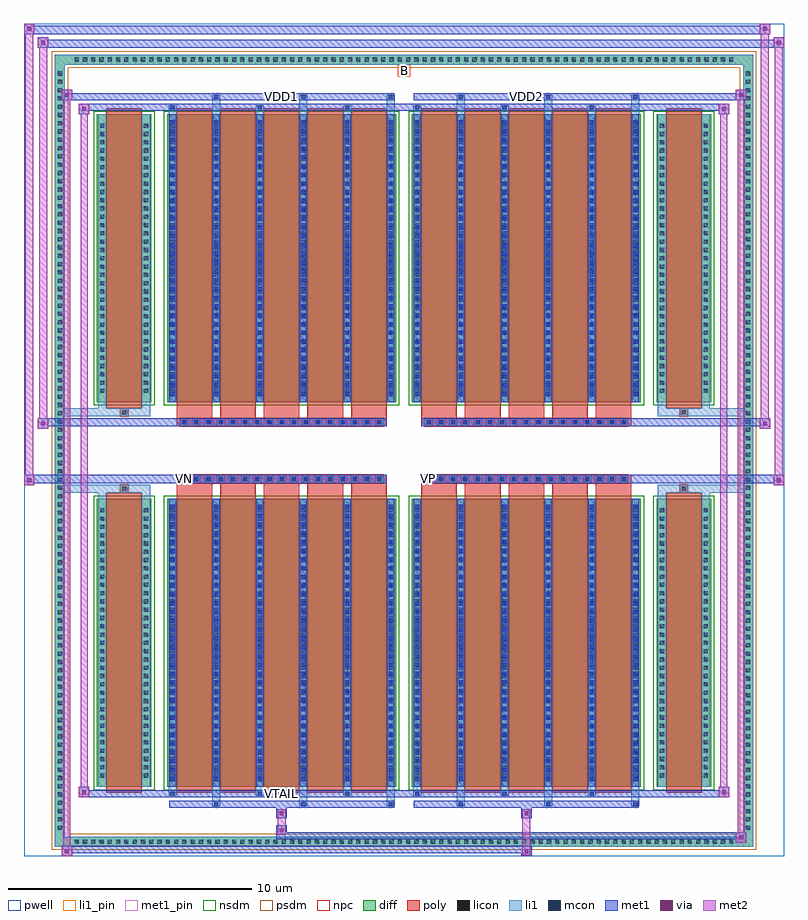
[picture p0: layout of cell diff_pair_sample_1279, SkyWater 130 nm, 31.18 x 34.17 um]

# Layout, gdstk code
import gdstk
lib = gdstk.Library(unit=1e-6, precision=5e-09)
def R(c, l, rs):  # rectangles x0, y0, x1, y1
    for r in rs: c.add(gdstk.rectangle(r[:2], r[2:], *l))
def A(c, l, x, y, w, h, nx, ny, dx, dy):  # array of equal rectangles
    R(c, l, [(x+i*dx, y+j*dy, x+i*dx+w, y+j*dy+h) for i in range(nx) for j in range(ny)])
def P(c, l, *ps):  # polygons
    for p in ps: c.add(gdstk.Polygon(p, *l))
pwell = (64, 44)
diff = (65, 20)
poly = (66, 20)
licon = (66, 44)
li1_pin = (67, 16)
li1 = (67, 20)
mcon = (67, 44)
met1_pin = (68, 16)
met1 = (68, 20)
via = (68, 44)
met2 = (69, 20)
nsdm = (93, 44)
psdm = (94, 20)
npc = (95, 20)

diff_pair_sample_1279 = lib.new_cell('diff_pair_sample_1279')
R(diff_pair_sample_1279, pwell, [(-15.59,-16.65,15.59,17.52), (-12.91,-14.84,-0.01,-0.8), (0.01,-14.84,12.91,-0.8), (-12.91,0.8,-0.01,14.84), (0.01,0.8,12.91,14.84)])
A(diff_pair_sample_1279, diff, -13.635, -16.25, 0.41, 0.41, 80, 2, 0.34, 32.09)
A(diff_pair_sample_1279, diff, -14.32, -15.675, 0.41, 0.41, 1, 92, 0, 0.34)
A(diff_pair_sample_1279, diff, 13.91, -15.675, 0.41, 0.41, 1, 92, 0, 0.34)
R(diff_pair_sample_1279, diff, [(-13.635,-16.25,13.635,-15.84), (-14.32,-15.675,-13.91,15.675), (13.91,-15.675,14.32,15.675), (-12.6,-13.795,-10.36,-1.985), (-9.72,-13.795,-0.32,-1.985), (0.32,-13.795,9.72,-1.985), (10.36,-13.795,12.6,-1.985), (-12.6,1.985,-10.36,13.795), (-9.72,1.985,-0.32,13.795), (0.32,1.985,9.72,13.795), (10.36,1.985,12.6,13.795), (-13.635,15.84,13.635,16.25)])
P(diff_pair_sample_1279, diff, [(14.32,16.25),(-14.32,16.25),(-14.32,-15.84),(-13.91,-15.84),(-13.91,15.84),(13.91,15.84),(13.91,-15.84),(-13.91,-15.84),(-14.32,-15.84),(-14.32,-16.25),(14.32,-16.25)])
A(diff_pair_sample_1279, poly, -9.33, -14.045, 1.46, 12.31, 5, 2, 1.79, 15.78)
A(diff_pair_sample_1279, poly, 0.71, -14.045, 1.46, 12.31, 5, 2, 1.79, 15.78)
A(diff_pair_sample_1279, poly, -9.33, -1.735, 1.46, 0.405, 5, 2, 1.79, 3.065)
A(diff_pair_sample_1279, poly, 0.71, -1.735, 1.46, 0.405, 5, 2, 1.79, 3.065)
A(diff_pair_sample_1279, poly, -9.185, -1.33, 0.33, 0.33, 17, 2, 0.5, 2.33)
A(diff_pair_sample_1279, poly, 0.855, -1.33, 0.33, 0.33, 17, 2, 0.5, 2.33)
R(diff_pair_sample_1279, poly, [(-12.21,-14.045,-10.75,-1.735), (10.75,-14.045,12.21,-1.735), (-11.645,-1.735,-11.315,-1.405), (-11.645,-1.735,-11.315,-1.405), (11.315,-1.735,11.645,-1.405), (11.315,-1.735,11.645,-1.405), (-9.33,-1.33,-0.71,-1), (0.71,-1.33,9.33,-1), (-9.33,1,-0.71,1.33), (0.71,1,9.33,1.33), (-11.645,1.405,-11.315,1.735), (-11.645,1.405,-11.315,1.735), (11.315,1.405,11.645,1.735), (11.315,1.405,11.645,1.735), (-12.21,1.735,-10.75,14.045), (10.75,1.735,12.21,14.045)])
A(diff_pair_sample_1279, licon, -13.515, -16.13, 0.17, 0.17, 80, 2, 0.34, 32.09)
A(diff_pair_sample_1279, licon, -14.2, -15.555, 0.17, 0.17, 1, 92, 0, 0.34)
A(diff_pair_sample_1279, licon, 14.03, -15.555, 0.17, 0.17, 1, 92, 0, 0.34)
A(diff_pair_sample_1279, licon, -12.46, -13.415, 0.17, 0.17, 1, 33, 0, 0.34)
A(diff_pair_sample_1279, licon, -10.67, -13.415, 0.17, 0.17, 1, 33, 0, 0.34)
A(diff_pair_sample_1279, licon, -9.58, -13.415, 0.17, 0.17, 6, 33, 1.79, 0.34)
A(diff_pair_sample_1279, licon, 0.46, -13.415, 0.17, 0.17, 6, 33, 1.79, 0.34)
A(diff_pair_sample_1279, licon, 10.5, -13.415, 0.17, 0.17, 1, 33, 0, 0.34)
A(diff_pair_sample_1279, licon, 12.29, -13.415, 0.17, 0.17, 1, 33, 0, 0.34)
A(diff_pair_sample_1279, licon, -9.105, -1.25, 0.17, 0.17, 17, 2, 0.5, 2.33)
A(diff_pair_sample_1279, licon, 0.935, -1.25, 0.17, 0.17, 17, 2, 0.5, 2.33)
A(diff_pair_sample_1279, licon, -12.46, 2.365, 0.17, 0.17, 1, 33, 0, 0.34)
A(diff_pair_sample_1279, licon, -10.67, 2.365, 0.17, 0.17, 1, 33, 0, 0.34)
A(diff_pair_sample_1279, licon, -9.58, 2.365, 0.17, 0.17, 6, 33, 1.79, 0.34)
A(diff_pair_sample_1279, licon, 0.46, 2.365, 0.17, 0.17, 6, 33, 1.79, 0.34)
A(diff_pair_sample_1279, licon, 10.5, 2.365, 0.17, 0.17, 1, 33, 0, 0.34)
A(diff_pair_sample_1279, licon, 12.29, 2.365, 0.17, 0.17, 1, 33, 0, 0.34)
R(diff_pair_sample_1279, licon, [(-11.565,-1.655,-11.395,-1.485), (11.395,-1.655,11.565,-1.485), (-11.565,1.485,-11.395,1.655), (11.395,1.485,11.565,1.655)])
R(diff_pair_sample_1279, li1_pin, [(-0.25,15.34,0.25,15.84)])
A(diff_pair_sample_1279, li1, -13.595, -16.21, 0.33, 0.33, 80, 2, 0.34, 32.09)
A(diff_pair_sample_1279, li1, -14.28, -15.635, 0.33, 0.33, 1, 92, 0, 0.34)
A(diff_pair_sample_1279, li1, 13.95, -15.635, 0.33, 0.33, 1, 92, 0, 0.34)
A(diff_pair_sample_1279, li1, -7.87, -14.6, 0.33, 0.805, 3, 2, 3.58, 28.395)
A(diff_pair_sample_1279, li1, -7.79, -14.6, 0.17, 0.17, 3, 2, 3.58, 29.03)
A(diff_pair_sample_1279, li1, 2.17, -14.6, 0.33, 0.805, 3, 2, 3.58, 28.395)
A(diff_pair_sample_1279, li1, 2.25, -14.6, 0.17, 0.17, 3, 2, 3.58, 29.03)
A(diff_pair_sample_1279, li1, -9.66, -14.17, 0.33, 0.375, 3, 2, 3.58, 27.965)
A(diff_pair_sample_1279, li1, -9.58, -14.17, 0.17, 0.17, 3, 2, 3.58, 28.17)
A(diff_pair_sample_1279, li1, 0.38, -14.17, 0.33, 0.375, 3, 2, 3.58, 27.965)
A(diff_pair_sample_1279, li1, 0.46, -14.17, 0.17, 0.17, 3, 2, 3.58, 28.17)
A(diff_pair_sample_1279, li1, -9.66, -13.795, 0.33, 11.81, 6, 2, 1.79, 15.78)
A(diff_pair_sample_1279, li1, 0.38, -13.795, 0.33, 11.81, 6, 2, 1.79, 15.78)
A(diff_pair_sample_1279, li1, -9.58, -13.555, 0.17, 0.17, 6, 32, 1.79, 0.36)
A(diff_pair_sample_1279, li1, -9.58, -13.555, 0.17, 11.33, 6, 2, 1.79, 15.78)
A(diff_pair_sample_1279, li1, 0.46, -13.555, 0.17, 0.17, 6, 32, 1.79, 0.36)
A(diff_pair_sample_1279, li1, 0.46, -13.555, 0.17, 11.33, 6, 2, 1.79, 15.78)
A(diff_pair_sample_1279, li1, -12.54, -13.495, 0.33, 0.33, 1, 33, 0, 0.34)
A(diff_pair_sample_1279, li1, -10.75, -13.495, 0.33, 0.33, 1, 33, 0, 0.34)
A(diff_pair_sample_1279, li1, -9.66, -13.495, 0.33, 0.33, 6, 33, 1.79, 0.34)
A(diff_pair_sample_1279, li1, 0.38, -13.495, 0.33, 0.33, 6, 33, 1.79, 0.34)
A(diff_pair_sample_1279, li1, 10.42, -13.495, 0.33, 0.33, 1, 33, 0, 0.34)
A(diff_pair_sample_1279, li1, 12.21, -13.495, 0.33, 0.33, 1, 33, 0, 0.34)
A(diff_pair_sample_1279, li1, -9.185, -1.33, 0.33, 0.33, 17, 2, 0.5, 2.33)
A(diff_pair_sample_1279, li1, 0.855, -1.33, 0.33, 0.33, 17, 2, 0.5, 2.33)
A(diff_pair_sample_1279, li1, -9.58, 2.225, 0.17, 0.17, 6, 32, 1.79, 0.36)
A(diff_pair_sample_1279, li1, 0.46, 2.225, 0.17, 0.17, 6, 32, 1.79, 0.36)
A(diff_pair_sample_1279, li1, -12.54, 2.285, 0.33, 0.33, 1, 33, 0, 0.34)
A(diff_pair_sample_1279, li1, -10.75, 2.285, 0.33, 0.33, 1, 33, 0, 0.34)
A(diff_pair_sample_1279, li1, -9.66, 2.285, 0.33, 0.33, 6, 33, 1.79, 0.34)
A(diff_pair_sample_1279, li1, 0.38, 2.285, 0.33, 0.33, 6, 33, 1.79, 0.34)
A(diff_pair_sample_1279, li1, 10.42, 2.285, 0.33, 0.33, 1, 33, 0, 0.34)
A(diff_pair_sample_1279, li1, 12.21, 2.285, 0.33, 0.33, 1, 33, 0, 0.34)
R(diff_pair_sample_1279, li1, [(-14.32,-16.25,-13.91,-15.84), (-14.32,-16.25,-13.91,-15.84), (-13.91,-16.25,13.91,-15.84), (13.91,-16.25,14.32,-15.84), (13.91,-16.25,14.32,-15.84), (-14.32,-15.84,-13.91,15.84), (13.91,-15.84,14.32,15.84), (-12.54,-13.795,-12.21,-1.985), (-10.75,-13.795,-10.42,-1.985), (10.42,-13.795,10.75,-1.985), (12.21,-13.795,12.54,-1.985), (-12.54,-1.985,-12.21,-1.405), (-10.75,-1.985,-10.42,-1.405), (10.42,-1.985,10.75,-1.405), (12.21,-1.985,12.54,-1.405), (-14.32,-1.735,-11.645,-1.405), (-12.54,-1.735,-11.645,-1.405), (-11.645,-1.735,-11.315,-1.405), (-11.315,-1.735,-10.42,-1.405), (10.42,-1.735,11.315,-1.405), (11.315,-1.735,11.645,-1.405), (11.315,-1.735,14.32,-1.405), (11.645,-1.735,12.54,-1.405), (-14.32,1.405,-11.645,1.735), (-12.54,1.405,-11.645,1.735), (-12.54,1.405,-12.21,1.985), (-11.645,1.405,-11.315,1.735), (-11.315,1.405,-10.42,1.735), (-10.75,1.405,-10.42,1.985), (10.42,1.405,11.315,1.735), (10.42,1.405,10.75,1.985), (11.315,1.405,11.645,1.735), (11.315,1.405,14.32,1.735), (11.645,1.405,12.54,1.735), (12.21,1.405,12.54,1.985), (-12.54,1.985,-12.21,13.795), (-10.75,1.985,-10.42,13.795), (10.42,1.985,10.75,13.795), (12.21,1.985,12.54,13.795), (-14.32,15.84,-13.91,16.25), (-14.32,15.84,-13.91,16.25), (-13.91,15.84,13.91,16.25), (13.91,15.84,14.32,16.25), (13.91,15.84,14.32,16.25)])
A(diff_pair_sample_1279, mcon, -7.79, -14.6, 0.17, 0.17, 3, 2, 3.58, 29.03)
A(diff_pair_sample_1279, mcon, 2.25, -14.6, 0.17, 0.17, 3, 2, 3.58, 29.03)
A(diff_pair_sample_1279, mcon, -9.58, -14.17, 0.17, 0.17, 3, 2, 3.58, 28.17)
A(diff_pair_sample_1279, mcon, 0.46, -14.17, 0.17, 0.17, 3, 2, 3.58, 28.17)
A(diff_pair_sample_1279, mcon, -9.58, -13.555, 0.17, 0.17, 6, 32, 1.79, 0.36)
A(diff_pair_sample_1279, mcon, 0.46, -13.555, 0.17, 0.17, 6, 32, 1.79, 0.36)
A(diff_pair_sample_1279, mcon, -9.105, -1.25, 0.17, 0.17, 17, 2, 0.5, 2.33)
A(diff_pair_sample_1279, mcon, 0.935, -1.25, 0.17, 0.17, 17, 2, 0.5, 2.33)
A(diff_pair_sample_1279, mcon, -9.58, 2.225, 0.17, 0.17, 6, 32, 1.79, 0.36)
A(diff_pair_sample_1279, mcon, 0.46, 2.225, 0.17, 0.17, 6, 32, 1.79, 0.36)
R(diff_pair_sample_1279, met1_pin, [(-5.155,-14.21,-4.885,-13.94), (-9.155,-1.29,-8.885,-1.02), (0.885,-1.29,1.155,-1.02), (-5.155,14.39,-4.885,14.66), (4.885,14.39,5.155,14.66)])
A(diff_pair_sample_1279, met1, -7.85, -14.66, 0.29, 0.29, 3, 2, 3.58, 29.03)
A(diff_pair_sample_1279, met1, 2.19, -14.66, 0.29, 0.29, 3, 2, 3.58, 29.03)
A(diff_pair_sample_1279, met1, -9.64, -14.23, 0.29, 0.29, 3, 2, 3.58, 28.17)
A(diff_pair_sample_1279, met1, 0.4, -14.23, 0.29, 0.29, 3, 2, 3.58, 28.17)
A(diff_pair_sample_1279, met1, -9.64, -13.795, 0.29, 11.81, 6, 2, 1.79, 15.78)
A(diff_pair_sample_1279, met1, 0.4, -13.795, 0.29, 11.81, 6, 2, 1.79, 15.78)
A(diff_pair_sample_1279, met1, -9.64, -13.615, 0.29, 0.29, 6, 32, 1.79, 0.36)
A(diff_pair_sample_1279, met1, 0.4, -13.615, 0.29, 0.29, 6, 32, 1.79, 0.36)
A(diff_pair_sample_1279, met1, -9.165, -1.31, 0.29, 0.29, 17, 2, 0.5, 2.33)
A(diff_pair_sample_1279, met1, 0.875, -1.31, 0.29, 0.29, 17, 2, 0.5, 2.33)
A(diff_pair_sample_1279, met1, -9.64, 2.165, 0.29, 0.29, 6, 32, 1.79, 0.36)
A(diff_pair_sample_1279, met1, 0.4, 2.165, 0.29, 0.29, 6, 32, 1.79, 0.36)
R(diff_pair_sample_1279, met1, [(-14.05,-16.65,-13.62,-16.22), (4.805,-16.65,5.235,-16.22), (-14.05,-16.51,5.235,-16.22), (13.62,-16.08,14.05,-15.65), (-5.235,-15.94,14.05,-15.65), (-5.235,-15.8,-4.805,-15.37), (-5.235,-15.09,-4.805,-14.66), (4.805,-15.09,5.235,-14.66), (-9.64,-14.66,-0.4,-14.37), (0.4,-14.66,9.64,-14.37), (-13.34,-14.23,-12.91,-13.8), (-13.34,-14.23,-9.64,-13.94), (-9.64,-14.23,-0.4,-13.94), (-0.4,-14.23,0.4,-13.94), (0.4,-14.23,9.64,-13.94), (9.64,-14.23,13.34,-13.94), (12.91,-14.23,13.34,-13.8), (-15.59,-1.43,-15.16,-1), (15.16,-1.43,15.59,-1), (-15.59,-1.33,-0.71,-1), (-9.33,-1.33,-0.71,-1), (0.71,-1.33,9.33,-1), (0.71,-1.33,15.59,-1), (-15.02,0.9,-14.59,1.33), (14.59,0.9,15.02,1.33), (-15.02,1,-9.33,1.33), (-9.33,1,-0.71,1.33), (0.71,1,9.33,1.33), (9.33,1,15.02,1.33), (-13.34,13.8,-12.91,14.23), (12.91,13.8,13.34,14.23), (-13.34,13.94,-9.64,14.23), (-9.64,13.94,-0.4,14.23), (-0.4,13.94,0.4,14.23), (0.4,13.94,9.64,14.23), (9.64,13.94,13.34,14.23), (-14.05,14.37,-13.62,14.8), (-14.05,14.37,-9.64,14.66), (-9.64,14.37,-0.4,14.66), (0.4,14.37,9.64,14.66), (9.64,14.37,14.05,14.66), (13.62,14.37,14.05,14.8), (-15.02,16.52,-14.59,16.95), (-15.02,16.52,-12.91,16.85), (-12.91,16.52,12.91,16.85), (12.91,16.52,15.59,16.85), (15.16,16.52,15.59,16.95), (-15.59,17.09,-15.16,17.52), (-15.59,17.09,-12.91,17.42), (-12.91,17.09,12.91,17.42), (12.91,17.09,15.02,17.42), (14.59,17.09,15.02,17.52)])
R(diff_pair_sample_1279, via, [(-13.91,-16.51,-13.76,-16.36), (4.945,-16.51,5.095,-16.36), (13.76,-15.94,13.91,-15.79), (-5.095,-15.66,-4.945,-15.51), (-5.095,-14.95,-4.945,-14.8), (4.945,-14.95,5.095,-14.8), (-13.2,-14.09,-13.05,-13.94), (13.05,-14.09,13.2,-13.94), (-15.45,-1.29,-15.3,-1.14), (15.3,-1.29,15.45,-1.14), (-14.88,1.04,-14.73,1.19), (14.73,1.04,14.88,1.19), (-13.2,13.94,-13.05,14.09), (13.05,13.94,13.2,14.09), (-13.91,14.51,-13.76,14.66), (13.76,14.51,13.91,14.66), (-14.88,16.66,-14.73,16.81), (15.3,16.66,15.45,16.81), (-15.45,17.23,-15.3,17.38), (14.73,17.23,14.88,17.38)])
R(diff_pair_sample_1279, met2, [(-14.05,-16.65,-13.62,-16.22), (-13.98,-16.65,-13.69,14.8), (-13.69,-16.65,-13.62,-16.22), (-14,-16.6,-13.67,-16.27), (4.855,-16.6,5.185,-16.27), (4.855,-16.27,5.185,-15.04), (13.62,-16.08,14.05,-15.65), (13.69,-16.08,13.98,14.8), (13.98,-16.08,14.05,-15.65), (13.67,-16.03,14,-15.7), (-5.185,-15.75,-4.855,-15.42), (-5.185,-15.42,-4.855,-15.04), (-5.185,-15.04,-4.855,-14.71), (4.855,-15.04,5.185,-14.71), (-13.34,-14.23,-12.91,-13.8), (-13.27,-14.23,-12.98,14.23), (-12.98,-14.23,-12.91,-13.8), (12.91,-14.23,13.34,-13.8), (12.98,-14.23,13.27,14.23), (13.27,-14.23,13.34,-13.8), (-13.29,-14.18,-12.96,-13.85), (12.96,-14.18,13.29,-13.85), (-15.59,-1.43,-15.16,-1), (-15.54,-1.43,-15.21,17.52), (-15.21,-1.43,-15.16,-1), (15.16,-1.43,15.59,-1), (15.21,-1.43,15.54,16.95), (15.54,-1.43,15.59,-1), (-15.54,-1.38,-15.21,-1.05), (15.21,-1.38,15.54,-1.05), (-15.02,0.9,-14.59,1.33), (-14.97,0.9,-14.64,16.95), (-14.64,0.9,-14.59,1.33), (14.59,0.9,15.02,1.33), (14.64,0.9,14.97,17.52), (14.97,0.9,15.02,1.33), (-14.97,0.95,-14.64,1.28), (14.64,0.95,14.97,1.28), (-13.34,13.8,-12.91,14.23), (-12.98,13.8,-12.91,14.23), (12.91,13.8,13.34,14.23), (13.27,13.8,13.34,14.23), (-13.29,13.85,-12.96,14.18), (12.96,13.85,13.29,14.18), (-14.05,14.37,-13.62,14.8), (-13.69,14.37,-13.62,14.8), (13.62,14.37,14.05,14.8), (13.98,14.37,14.05,14.8), (-14,14.42,-13.67,14.75), (13.67,14.42,14,14.75), (-15.02,16.52,-14.59,16.95), (-14.64,16.52,-14.59,16.95), (15.16,16.52,15.59,16.95), (15.54,16.52,15.59,16.95), (-14.97,16.57,-14.64,16.9), (15.21,16.57,15.54,16.9), (-15.59,17.09,-15.16,17.52), (-15.21,17.09,-15.16,17.52), (14.59,17.09,15.02,17.52), (14.97,17.09,15.02,17.52), (-15.54,17.14,-15.21,17.47), (14.64,17.14,14.97,17.47)])
R(diff_pair_sample_1279, nsdm, [(-12.73,-13.925,-10.23,-1.855), (-9.85,-13.925,-0.19,-1.855), (0.19,-13.925,9.85,-1.855), (10.23,-13.925,12.73,-1.855), (-12.73,1.855,-10.23,13.925), (-9.85,1.855,-0.19,13.925), (0.19,1.855,9.85,13.925), (10.23,1.855,12.73,13.925)])
P(diff_pair_sample_1279, psdm, [(14.45,16.38),(-14.45,16.38),(-14.45,-15.71),(-13.78,-15.71),(-13.78,15.71),(13.78,15.71),(13.78,-15.71),(-13.78,-15.71),(-14.45,-15.71),(-14.45,-16.38),(14.45,-16.38)])
A(diff_pair_sample_1279, npc, -9.205, -1.35, 0.37, 0.37, 17, 2, 0.5, 2.33)
A(diff_pair_sample_1279, npc, 0.835, -1.35, 0.37, 0.37, 17, 2, 0.5, 2.33)
R(diff_pair_sample_1279, npc, [(-11.665,-1.755,-11.295,-1.385), (11.295,-1.755,11.665,-1.385), (-9.205,-1.35,-8.335,-0.98), (-9.205,-1.35,-8.335,-0.98), (-8.705,-1.35,-7.835,-0.98), (-8.705,-1.35,-7.835,-0.98), (-8.205,-1.35,-7.335,-0.98), (-8.205,-1.35,-7.335,-0.98), (-7.705,-1.35,-6.835,-0.98), (-7.705,-1.35,-6.835,-0.98), (-7.205,-1.35,-6.335,-0.98), (-7.205,-1.35,-6.335,-0.98), (-6.705,-1.35,-5.835,-0.98), (-6.705,-1.35,-5.835,-0.98), (-6.205,-1.35,-5.335,-0.98), (-6.205,-1.35,-5.335,-0.98), (-5.705,-1.35,-4.835,-0.98), (-5.705,-1.35,-4.835,-0.98), (-5.205,-1.35,-4.335,-0.98), (-5.205,-1.35,-4.335,-0.98), (-4.705,-1.35,-3.835,-0.98), (-4.705,-1.35,-3.835,-0.98), (-4.205,-1.35,-3.335,-0.98), (-4.205,-1.35,-3.335,-0.98), (-3.705,-1.35,-2.835,-0.98), (-3.705,-1.35,-2.835,-0.98), (-3.205,-1.35,-2.335,-0.98), (-3.205,-1.35,-2.335,-0.98), (-2.705,-1.35,-1.835,-0.98), (-2.705,-1.35,-1.835,-0.98), (-2.205,-1.35,-1.335,-0.98), (-2.205,-1.35,-1.335,-0.98), (-1.705,-1.35,-0.835,-0.98), (-1.705,-1.35,-0.835,-0.98), (0.835,-1.35,1.705,-0.98), (0.835,-1.35,1.705,-0.98), (1.335,-1.35,2.205,-0.98), (1.335,-1.35,2.205,-0.98), (1.835,-1.35,2.705,-0.98), (1.835,-1.35,2.705,-0.98), (2.335,-1.35,3.205,-0.98), (2.335,-1.35,3.205,-0.98), (2.835,-1.35,3.705,-0.98), (2.835,-1.35,3.705,-0.98), (3.335,-1.35,4.205,-0.98), (3.335,-1.35,4.205,-0.98), (3.835,-1.35,4.705,-0.98), (3.835,-1.35,4.705,-0.98), (4.335,-1.35,5.205,-0.98), (4.335,-1.35,5.205,-0.98), (4.835,-1.35,5.705,-0.98), (4.835,-1.35,5.705,-0.98), (5.335,-1.35,6.205,-0.98), (5.335,-1.35,6.205,-0.98), (5.835,-1.35,6.705,-0.98), (5.835,-1.35,6.705,-0.98), (6.335,-1.35,7.205,-0.98), (6.335,-1.35,7.205,-0.98), (6.835,-1.35,7.705,-0.98), (6.835,-1.35,7.705,-0.98), (7.335,-1.35,8.205,-0.98), (7.335,-1.35,8.205,-0.98), (7.835,-1.35,8.705,-0.98), (7.835,-1.35,8.705,-0.98), (8.335,-1.35,9.205,-0.98), (8.335,-1.35,9.205,-0.98), (-9.205,0.98,-8.335,1.35), (-9.205,0.98,-8.335,1.35), (-8.705,0.98,-7.835,1.35), (-8.705,0.98,-7.835,1.35), (-8.205,0.98,-7.335,1.35), (-8.205,0.98,-7.335,1.35), (-7.705,0.98,-6.835,1.35), (-7.705,0.98,-6.835,1.35), (-7.205,0.98,-6.335,1.35), (-7.205,0.98,-6.335,1.35), (-6.705,0.98,-5.835,1.35), (-6.705,0.98,-5.835,1.35), (-6.205,0.98,-5.335,1.35), (-6.205,0.98,-5.335,1.35), (-5.705,0.98,-4.835,1.35), (-5.705,0.98,-4.835,1.35), (-5.205,0.98,-4.335,1.35), (-5.205,0.98,-4.335,1.35), (-4.705,0.98,-3.835,1.35), (-4.705,0.98,-3.835,1.35), (-4.205,0.98,-3.335,1.35), (-4.205,0.98,-3.335,1.35), (-3.705,0.98,-2.835,1.35), (-3.705,0.98,-2.835,1.35), (-3.205,0.98,-2.335,1.35), (-3.205,0.98,-2.335,1.35), (-2.705,0.98,-1.835,1.35), (-2.705,0.98,-1.835,1.35), (-2.205,0.98,-1.335,1.35), (-2.205,0.98,-1.335,1.35), (-1.705,0.98,-0.835,1.35), (-1.705,0.98,-0.835,1.35), (0.835,0.98,1.705,1.35), (0.835,0.98,1.705,1.35), (1.335,0.98,2.205,1.35), (1.335,0.98,2.205,1.35), (1.835,0.98,2.705,1.35), (1.835,0.98,2.705,1.35), (2.335,0.98,3.205,1.35), (2.335,0.98,3.205,1.35), (2.835,0.98,3.705,1.35), (2.835,0.98,3.705,1.35), (3.335,0.98,4.205,1.35), (3.335,0.98,4.205,1.35), (3.835,0.98,4.705,1.35), (3.835,0.98,4.705,1.35), (4.335,0.98,5.205,1.35), (4.335,0.98,5.205,1.35), (4.835,0.98,5.705,1.35), (4.835,0.98,5.705,1.35), (5.335,0.98,6.205,1.35), (5.335,0.98,6.205,1.35), (5.835,0.98,6.705,1.35), (5.835,0.98,6.705,1.35), (6.335,0.98,7.205,1.35), (6.335,0.98,7.205,1.35), (6.835,0.98,7.705,1.35), (6.835,0.98,7.705,1.35), (7.335,0.98,8.205,1.35), (7.335,0.98,8.205,1.35), (7.835,0.98,8.705,1.35), (7.835,0.98,8.705,1.35), (8.335,0.98,9.205,1.35), (8.335,0.98,9.205,1.35), (-11.665,1.385,-11.295,1.755), (11.295,1.385,11.665,1.755)])
diff_pair_sample_1279.add(gdstk.Label('VTAIL', (-5.02,-14.075), layer=68, texttype=5))
diff_pair_sample_1279.add(gdstk.Label('VN', (-9.02,-1.155), layer=68, texttype=5))
diff_pair_sample_1279.add(gdstk.Label('VP', (1.02,-1.155), layer=68, texttype=5))
diff_pair_sample_1279.add(gdstk.Label('B', (0,15.59), layer=67, texttype=5))
diff_pair_sample_1279.add(gdstk.Label('VDD2', (5.02,14.525), layer=68, texttype=5))
diff_pair_sample_1279.add(gdstk.Label('VDD1', (-5.02,14.525), layer=68, texttype=5))

lib.write_gds('diff_pair_sample_1279.gds')
